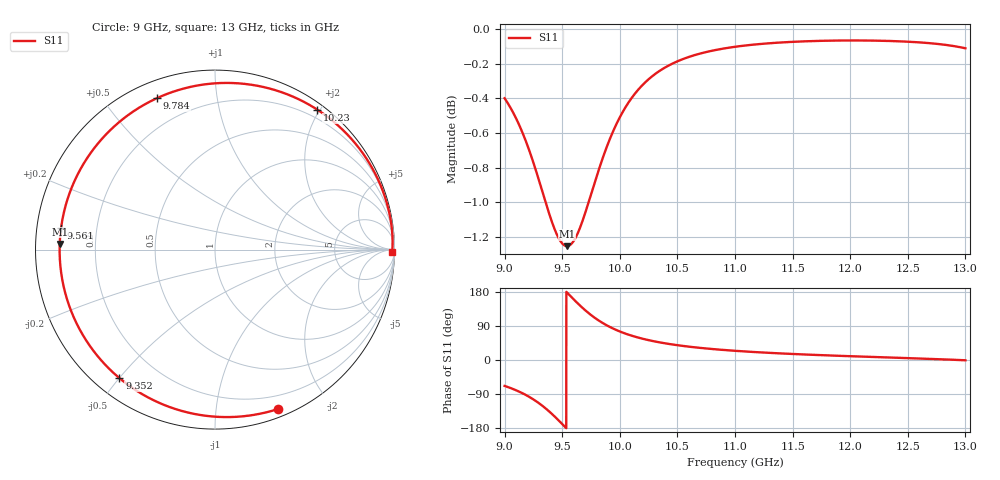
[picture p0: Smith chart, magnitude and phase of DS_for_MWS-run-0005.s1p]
! TOUCHSTONE file generated by CST DESIGN STUDIO
! Date and time: Tue Feb  4 18:42:38 2025
! Project name: C:\Work\MatlabApps\UnitCellOptimizationMatlab\CST\unitcell.cst
! Tree item: Tasks\Sweep1\SPara1\S-Parameters
! Header version: 2024
! Port assignment regex: !\s*Touchstone port\s*([0-9]+)\s*=\s*(CST MWS port|CST DES external port|CST DES block port)\s*(.+)\s* \(\"(.*)\"\)(\s*mode\s*([0-9]+))?.*
! Touchstone port assignment:
! Touchstone port 1 = CST DES external port 1 ("")
# GHz S MA R 50
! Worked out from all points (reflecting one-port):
!   4001 points, 9 GHz to 13 GHz, reference 50 ohm
!   lowest |S11| = -1.3 dB at 9.542 GHz (marker M1), VSWR 13.90, Z = 3.6 + j0.899 ohm
!   phase of S11 starts at -68 deg and turns -292 deg over the sweep
!   S11 on the Smith chart (normalised r, x): 9 GHz: 0.07, -1.47; 9.352 GHz: 0.07, -0.50; 9.561 GHz: 0.07, +0.07; 9.784 GHz: 0.07, +0.68; 10.23 GHz: 0.08, +1.97; 13 GHz: open
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9  0.9551 -68.4
9.098  0.9426 -79.7
9.207  0.9239 -96.1
9.283  0.9079 -110.7
9.352  0.8922 -126.7
9.422  0.8777 -145.5
9.462  0.8713 -157.2
9.5  0.8673 -168.9
9.542  0.8657 177.9
9.561  0.8661 172.0
9.615  0.8705 155.3
9.677  0.8805 137.4
9.73  0.8915 123.6
9.784  0.9035 111.0
9.829  0.9132 101.8
9.879  0.9232 92.8
9.939  0.9339 83.4
10  0.9431 75.3
10.109  0.9559 63.6
10.23  0.9659 53.8
10.355  0.9731 46.0
10.5  0.9788 39.1
10.721  0.9843 31.2
11  0.9883 24.3
11.5  0.9915 15.9
12  0.9924 10.0
12.5  0.9916 5.0
13  0.9873 -0.7
